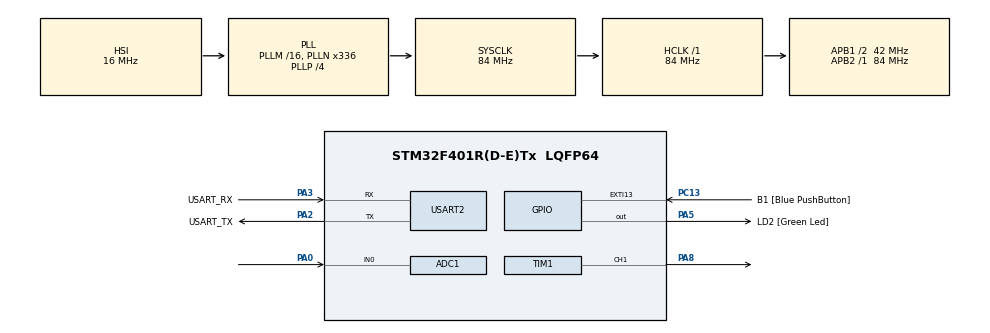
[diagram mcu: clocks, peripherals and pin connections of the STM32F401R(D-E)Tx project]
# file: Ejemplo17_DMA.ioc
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ADC1.Channel-0\#ChannelRegularConversion=ADC_CHANNEL_0
ADC1.NbrOfConversionFlag=1
ADC1.Rank-0\#ChannelRegularConversion=1
ADC1.SamplingTime-0\#ChannelRegularConversion=ADC_SAMPLETIME_3CYCLES
ADC1.master=1
Dma.ADC1.0.Direction=DMA_PERIPH_TO_MEMORY
Dma.ADC1.0.FIFOMode=DMA_FIFOMODE_DISABLE
Dma.ADC1.0.Instance=DMA2_Stream0
Dma.ADC1.0.MemDataAlignment=DMA_MDATAALIGN_HALFWORD
Dma.ADC1.0.MemInc=DMA_MINC_ENABLE
Dma.ADC1.0.Mode=DMA_NORMAL
Dma.ADC1.0.PeriphDataAlignment=DMA_PDATAALIGN_HALFWORD
Dma.ADC1.0.PeriphInc=DMA_PINC_DISABLE
Dma.ADC1.0.Priority=DMA_PRIORITY_MEDIUM
Dma.Request0=ADC1
Dma.Request1=USART2_RX
Dma.Request2=TIM1_CH1
Dma.TIM1_CH1.2.Direction=DMA_PERIPH_TO_MEMORY
Dma.TIM1_CH1.2.FIFOMode=DMA_FIFOMODE_DISABLE
Dma.TIM1_CH1.2.Instance=DMA2_Stream1
Dma.TIM1_CH1.2.MemDataAlignment=DMA_MDATAALIGN_HALFWORD
Dma.TIM1_CH1.2.MemInc=DMA_MINC_ENABLE
Dma.TIM1_CH1.2.Mode=DMA_NORMAL
Dma.TIM1_CH1.2.PeriphDataAlignment=DMA_PDATAALIGN_HALFWORD
Dma.TIM1_CH1.2.PeriphInc=DMA_PINC_DISABLE
Dma.TIM1_CH1.2.Priority=DMA_PRIORITY_LOW
Dma.USART2_RX.1.Direction=DMA_PERIPH_TO_MEMORY
Dma.USART2_RX.1.FIFOMode=DMA_FIFOMODE_DISABLE
Dma.USART2_RX.1.Instance=DMA1_Stream5
Dma.USART2_RX.1.MemDataAlignment=DMA_MDATAALIGN_BYTE
Dma.USART2_RX.1.MemInc=DMA_MINC_ENABLE
Dma.USART2_RX.1.Mode=DMA_NORMAL
Dma.USART2_RX.1.PeriphDataAlignment=DMA_PDATAALIGN_BYTE
Dma.USART2_RX.1.PeriphInc=DMA_PINC_DISABLE
Dma.USART2_RX.1.Priority=DMA_PRIORITY_HIGH
Mcu.Family=STM32F4
Mcu.Name=STM32F401R(D-E)Tx
Mcu.Package=LQFP64
NVIC.DMA1_Stream5_IRQn=true\:0\:0\:false\:false\:true\:false\:true\:true
NVIC.DMA2_Stream0_IRQn=true\:0\:0\:false\:false\:true\:false\:true\:true
NVIC.DMA2_Stream1_IRQn=true\:0\:0\:false\:false\:true\:false\:true\:true
NVIC.PriorityGroup=NVIC_PRIORITYGROUP_0
NVIC.USART2_IRQn=true\:0\:0\:false\:false\:true\:true\:true\:true
PA0-WKUP.Signal=ADCx_IN0
PA13.GPIO_Label=TMS
PA13.Mode=Serial_Wire
PA13.Signal=SYS_JTMS-SWDIO
PA14.GPIO_Label=TCK
PA14.Mode=Serial_Wire
PA14.Signal=SYS_JTCK-SWCLK
PA2.GPIO_Label=USART_TX
PA2.GPIO_Mode=GPIO_MODE_AF_PP
PA2.GPIO_PuPd=GPIO_NOPULL
PA2.GPIO_Speed=GPIO_SPEED_FREQ_LOW
PA2.Mode=Asynchronous
PA2.Signal=USART2_TX
PA3.GPIO_Label=USART_RX
PA3.GPIO_Mode=GPIO_MODE_AF_PP
PA3.GPIO_PuPd=GPIO_NOPULL
PA3.GPIO_Speed=GPIO_SPEED_FREQ_LOW
PA3.Mode=Asynchronous
PA3.Signal=USART2_RX
PA5.GPIO_Label=LD2 [Green Led]
PA5.GPIO_Mode=GPIO_MODE_OUTPUT_PP
PA5.GPIO_PuPd=GPIO_NOPULL
PA5.GPIO_Speed=GPIO_SPEED_FREQ_LOW
PA5.Signal=GPIO_Output
PA8.Signal=S_TIM1_CH1
PB3.GPIO_Label=SWO
PB3.Signal=SYS_JTDO-SWO
PC13-ANTI_TAMP.GPIO_Label=B1 [Blue PushButton]
PC13-ANTI_TAMP.GPIO_ModeDefaultEXTI=GPIO_MODE_IT_FALLING
PC13-ANTI_TAMP.GPIO_PuPd=GPIO_NOPULL
PC13-ANTI_TAMP.Signal=GPXTI13
PC14-OSC32_IN.Mode=LSE-External-Oscillator
PC14-OSC32_IN.Signal=RCC_OSC32_IN
PC15-OSC32_OUT.Mode=LSE-External-Oscillator
PC15-OSC32_OUT.Signal=RCC_OSC32_OUT
PH0\ -\ OSC_IN.Mode=HSE-External-Clock-Source
PH0\ -\ OSC_IN.Signal=RCC_OSC_IN
PH1\ -\ OSC_OUT.Mode=HSE-External-Clock-Source
PH1\ -\ OSC_OUT.Signal=RCC_OSC_OUT
ProjectManager.HeapSize=0x200
ProjectManager.StackSize=0x400
ProjectManager.TargetToolchain=STM32CubeIDE
RCC.48MHZClocksFreq_Value=48000000
RCC.AHBFreq_Value=84000000
RCC.APB1CLKDivider=RCC_HCLK_DIV2
RCC.APB1Freq_Value=42000000
RCC.APB1TimFreq_Value=84000000
RCC.APB2Freq_Value=84000000
RCC.APB2TimFreq_Value=84000000
RCC.CortexFreq_Value=84000000
RCC.HCLKFreq_Value=84000000
RCC.HSE_VALUE=8000000
RCC.HSI_VALUE=16000000
RCC.PLLN=336
RCC.PLLP=RCC_PLLP_DIV4
RCC.PLLQ=7
RCC.SYSCLKFreq_VALUE=84000000
RCC.SYSCLKSource=RCC_SYSCLKSOURCE_PLLCLK
RCC.VCOOutputFreq_Value=336000000
SH.ADCx_IN0.0=ADC1_IN0,IN0
SH.S_TIM1_CH1.0=TIM1_CH1,PWM Generation1 CH1
TIM1.Channel-PWM\ Generation1\ CH1=TIM_CHANNEL_1
TIM1.Period=8400
TIM1.Prescaler=10
USART2.VirtualMode=VM_ASYNC
board=NUCLEO-F401RE

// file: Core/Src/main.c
/* USER CODE BEGIN Header */
/**
  ******************************************************************************
  * @file           : main.c
  * @brief          : Main program body
  ******************************************************************************
  * @attention
  *
  * Copyright (c) 2023 STMicroelectronics.
  * All rights reserved.
  *
  * This software is licensed under terms that can be found in the LICENSE file
  * in the root directory of this software component.
  * If no LICENSE file comes with this software, it is provided AS-IS.
  *
  ******************************************************************************
  */
/* USER CODE END Header */
#include "main.h"

/* USER CODE BEGIN Includes */
#include "stdio.h"
/* USER CODE END Includes */

ADC_HandleTypeDef hadc1;
DMA_HandleTypeDef hdma_adc1;

TIM_HandleTypeDef htim1;
DMA_HandleTypeDef hdma_tim1_ch1;

UART_HandleTypeDef huart2;
DMA_HandleTypeDef hdma_usart2_rx;

void SystemClock_Config(void);
static void MX_GPIO_Init(void);
static void MX_DMA_Init(void);
static void MX_USART2_UART_Init(void);
static void MX_ADC1_Init(void);
static void MX_TIM1_Init(void);

/* USER CODE BEGIN 0 */
uint8_t rx;
uint32_t adc_read;
int __io_putchar(int ch)
{
	HAL_UART_Transmit(&huart2, (uint8_t *)&ch,1, HAL_MAX_DELAY);
	//HAL_UART_Transmit(&huart1, (uint8_t *)&ch,1, HAL_MAX_DELAY);
	return ch;
}
/* USER CODE END 0 */

int main(void)
{

  /* MCU Configuration--------------------------------------------------------*/

  /* Reset of all peripherals, Initializes the Flash interface and the Systick. */
  HAL_Init();

  /* Configure the system clock */
  SystemClock_Config();

  /* Initialize all configured peripherals */
  MX_GPIO_Init();
  MX_DMA_Init();
  MX_USART2_UART_Init();
  MX_ADC1_Init();
  MX_TIM1_Init();
  /* USER CODE BEGIN 2 */

  HAL_UART_Receive_DMA(&huart2,&rx, 1);
  int dato_pwm = 4000;
  HAL_TIM_PWM_Start_DMA(&htim1, TIM_CHANNEL_1, &dato_pwm, 1);
  /* USER CODE END 2 */

  /* Infinite loop */
  /* USER CODE BEGIN WHILE */
  while (1)
  {

	  HAL_ADC_Start_DMA(&hadc1, &adc_read, 1);
	  printf("ADC READ DMA->%lu\n\r",adc_read);
	  HAL_Delay(200);

    /* USER CODE END WHILE */

  }
}

void SystemClock_Config(void)
{
  RCC_OscInitTypeDef RCC_OscInitStruct = {0};
  RCC_ClkInitTypeDef RCC_ClkInitStruct = {0};

  /** Configure the main internal regulator output voltage
  */
  __HAL_RCC_PWR_CLK_ENABLE();
  __HAL_PWR_VOLTAGESCALING_CONFIG(PWR_REGULATOR_VOLTAGE_SCALE2);

  /** Initializes the RCC Oscillators according to the specified parameters
  * in the RCC_OscInitTypeDef structure.
  */
  RCC_OscInitStruct.OscillatorType = RCC_OSCILLATORTYPE_HSI;
  RCC_OscInitStruct.HSIState = RCC_HSI_ON;
  RCC_OscInitStruct.HSICalibrationValue = RCC_HSICALIBRATION_DEFAULT;
  RCC_OscInitStruct.PLL.PLLState = RCC_PLL_ON;
  RCC_OscInitStruct.PLL.PLLSource = RCC_PLLSOURCE_HSI;
  RCC_OscInitStruct.PLL.PLLM = 16;
  RCC_OscInitStruct.PLL.PLLN = 336;
  RCC_OscInitStruct.PLL.PLLP = RCC_PLLP_DIV4;
  RCC_OscInitStruct.PLL.PLLQ = 7;
  if (HAL_RCC_OscConfig(&RCC_OscInitStruct) != HAL_OK)
  {
    Error_Handler();
  }

  /** Initializes the CPU, AHB and APB buses clocks
  */
  RCC_ClkInitStruct.ClockType = RCC_CLOCKTYPE_HCLK|RCC_CLOCKTYPE_SYSCLK
                              |RCC_CLOCKTYPE_PCLK1|RCC_CLOCKTYPE_PCLK2;
  RCC_ClkInitStruct.SYSCLKSource = RCC_SYSCLKSOURCE_PLLCLK;
  RCC_ClkInitStruct.AHBCLKDivider = RCC_SYSCLK_DIV1;
  RCC_ClkInitStruct.APB1CLKDivider = RCC_HCLK_DIV2;
  RCC_ClkInitStruct.APB2CLKDivider = RCC_HCLK_DIV1;

  if (HAL_RCC_ClockConfig(&RCC_ClkInitStruct, FLASH_LATENCY_2) != HAL_OK)
  {
    Error_Handler();
  }
}

static void MX_ADC1_Init(void)
{

  ADC_ChannelConfTypeDef sConfig = {0};

  /** Configure the global features of the ADC (Clock, Resolution, Data Alignment and number of conversion)
  */
  hadc1.Instance = ADC1;
  hadc1.Init.ClockPrescaler = ADC_CLOCK_SYNC_PCLK_DIV4;
  hadc1.Init.Resolution = ADC_RESOLUTION_12B;
  hadc1.Init.ScanConvMode = DISABLE;
  hadc1.Init.ContinuousConvMode = DISABLE;
  hadc1.Init.DiscontinuousConvMode = DISABLE;
  hadc1.Init.ExternalTrigConvEdge = ADC_EXTERNALTRIGCONVEDGE_NONE;
  hadc1.Init.ExternalTrigConv = ADC_SOFTWARE_START;
  hadc1.Init.DataAlign = ADC_DATAALIGN_RIGHT;
  hadc1.Init.NbrOfConversion = 1;
  hadc1.Init.DMAContinuousRequests = DISABLE;
  hadc1.Init.EOCSelection = ADC_EOC_SINGLE_CONV;
  if (HAL_ADC_Init(&hadc1) != HAL_OK)
  {
    Error_Handler();
  }

  /** Configure for the selected ADC regular channel its corresponding rank in the sequencer and its sample time.
  */
  sConfig.Channel = ADC_CHANNEL_0;
  sConfig.Rank = 1;
  sConfig.SamplingTime = ADC_SAMPLETIME_3CYCLES;
  if (HAL_ADC_ConfigChannel(&hadc1, &sConfig) != HAL_OK)
  {
    Error_Handler();
  }

}

static void MX_TIM1_Init(void)
{

  TIM_MasterConfigTypeDef sMasterConfig = {0};
  TIM_OC_InitTypeDef sConfigOC = {0};
  TIM_BreakDeadTimeConfigTypeDef sBreakDeadTimeConfig = {0};

  htim1.Instance = TIM1;
  htim1.Init.Prescaler = 10;
  htim1.Init.CounterMode = TIM_COUNTERMODE_UP;
  htim1.Init.Period = 8400;
  htim1.Init.ClockDivision = TIM_CLOCKDIVISION_DIV1;
  htim1.Init.RepetitionCounter = 0;
  htim1.Init.AutoReloadPreload = TIM_AUTORELOAD_PRELOAD_DISABLE;
  if (HAL_TIM_PWM_Init(&htim1) != HAL_OK)
  {
    Error_Handler();
  }
  sMasterConfig.MasterOutputTrigger = TIM_TRGO_RESET;
  sMasterConfig.MasterSlaveMode = TIM_MASTERSLAVEMODE_DISABLE;
  if (HAL_TIMEx_MasterConfigSynchronization(&htim1, &sMasterConfig) != HAL_OK)
  {
    Error_Handler();
  }
  sConfigOC.OCMode = TIM_OCMODE_PWM1;
  sConfigOC.Pulse = 0;
  sConfigOC.OCPolarity = TIM_OCPOLARITY_HIGH;
  sConfigOC.OCNPolarity = TIM_OCNPOLARITY_HIGH;
  sConfigOC.OCFastMode = TIM_OCFAST_DISABLE;
  sConfigOC.OCIdleState = TIM_OCIDLESTATE_RESET;
  sConfigOC.OCNIdleState = TIM_OCNIDLESTATE_RESET;
  if (HAL_TIM_PWM_ConfigChannel(&htim1, &sConfigOC, TIM_CHANNEL_1) != HAL_OK)
  {
    Error_Handler();
  }
  sBreakDeadTimeConfig.OffStateRunMode = TIM_OSSR_DISABLE;
  sBreakDeadTimeConfig.OffStateIDLEMode = TIM_OSSI_DISABLE;
  sBreakDeadTimeConfig.LockLevel = TIM_LOCKLEVEL_OFF;
  sBreakDeadTimeConfig.DeadTime = 0;
  sBreakDeadTimeConfig.BreakState = TIM_BREAK_DISABLE;
  sBreakDeadTimeConfig.BreakPolarity = TIM_BREAKPOLARITY_HIGH;
  sBreakDeadTimeConfig.AutomaticOutput = TIM_AUTOMATICOUTPUT_DISABLE;
  if (HAL_TIMEx_ConfigBreakDeadTime(&htim1, &sBreakDeadTimeConfig) != HAL_OK)
  {
    Error_Handler();
  }
  HAL_TIM_MspPostInit(&htim1);

}

static void MX_USART2_UART_Init(void)
{

  huart2.Instance = USART2;
  huart2.Init.BaudRate = 115200;
  huart2.Init.WordLength = UART_WORDLENGTH_8B;
  huart2.Init.StopBits = UART_STOPBITS_1;
  huart2.Init.Parity = UART_PARITY_NONE;
  huart2.Init.Mode = UART_MODE_TX_RX;
  huart2.Init.HwFlowCtl = UART_HWCONTROL_NONE;
  huart2.Init.OverSampling = UART_OVERSAMPLING_16;
  if (HAL_UART_Init(&huart2) != HAL_OK)
  {
    Error_Handler();
  }

}

static void MX_DMA_Init(void)
{

  /* DMA controller clock enable */
  __HAL_RCC_DMA2_CLK_ENABLE();
  __HAL_RCC_DMA1_CLK_ENABLE();

  /* DMA interrupt init */
  /* DMA1_Stream5_IRQn interrupt configuration */
  HAL_NVIC_SetPriority(DMA1_Stream5_IRQn, 0, 0);
  HAL_NVIC_EnableIRQ(DMA1_Stream5_IRQn);
  /* DMA2_Stream0_IRQn interrupt configuration */
  HAL_NVIC_SetPriority(DMA2_Stream0_IRQn, 0, 0);
  HAL_NVIC_EnableIRQ(DMA2_Stream0_IRQn);
  /* DMA2_Stream1_IRQn interrupt configuration */
  HAL_NVIC_SetPriority(DMA2_Stream1_IRQn, 0, 0);
  HAL_NVIC_EnableIRQ(DMA2_Stream1_IRQn);

}

static void MX_GPIO_Init(void)
{
  GPIO_InitTypeDef GPIO_InitStruct = {0};

  /* GPIO Ports Clock Enable */
  __HAL_RCC_GPIOC_CLK_ENABLE();
  __HAL_RCC_GPIOH_CLK_ENABLE();
  __HAL_RCC_GPIOA_CLK_ENABLE();
  __HAL_RCC_GPIOB_CLK_ENABLE();

  /*Configure GPIO pin Output Level */
  HAL_GPIO_WritePin(LD2_GPIO_Port, LD2_Pin, GPIO_PIN_RESET);

  /*Configure GPIO pin : B1_Pin */
  GPIO_InitStruct.Pin = B1_Pin;
  GPIO_InitStruct.Mode = GPIO_MODE_IT_FALLING;
  GPIO_InitStruct.Pull = GPIO_NOPULL;
  HAL_GPIO_Init(B1_GPIO_Port, &GPIO_InitStruct);

  /*Configure GPIO pin : LD2_Pin */
  GPIO_InitStruct.Pin = LD2_Pin;
  GPIO_InitStruct.Mode = GPIO_MODE_OUTPUT_PP;
  GPIO_InitStruct.Pull = GPIO_NOPULL;
  GPIO_InitStruct.Speed = GPIO_SPEED_FREQ_LOW;
  HAL_GPIO_Init(LD2_GPIO_Port, &GPIO_InitStruct);

}

/* USER CODE BEGIN 4 */
void HAL_UART_RxCpltCallback(UART_HandleTypeDef *huart){

	printf("Recibido por DMA->%c\n\r",(char)rx);
	  HAL_UART_Receive_DMA(&huart2,&rx, 1);

}
/* USER CODE END 4 */

void Error_Handler(void)
{
  __disable_irq();
  while (1)
  {
  }
}
